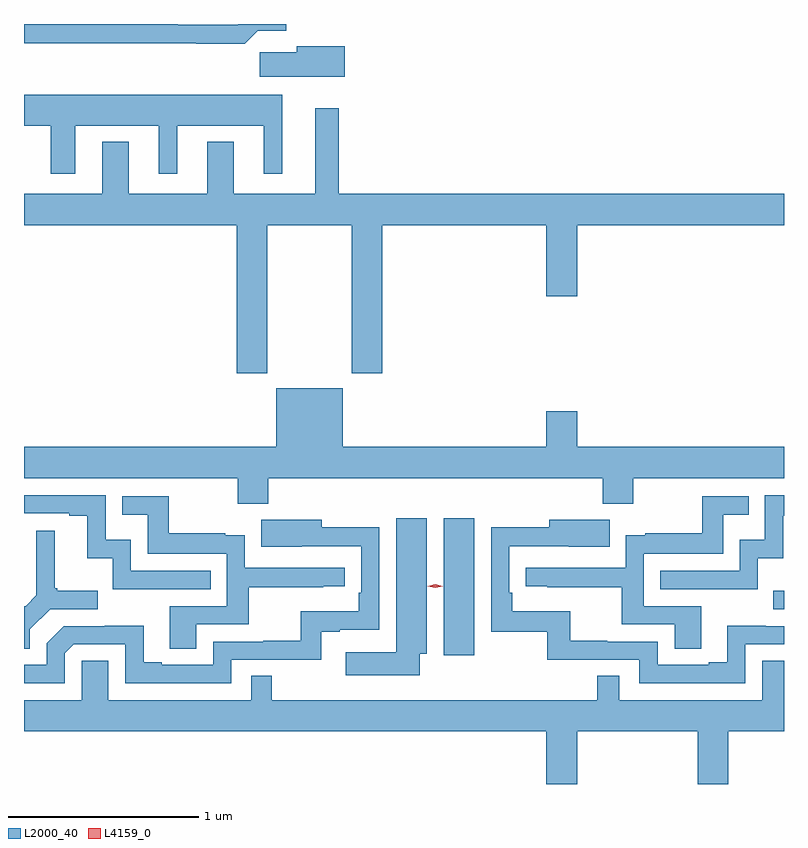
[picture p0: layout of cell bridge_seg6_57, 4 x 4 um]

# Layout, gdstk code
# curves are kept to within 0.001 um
import gdstk
lib = gdstk.Library(unit=1e-6, precision=1e-09)
def R(c, l, rs):  # rectangles x0, y0, x1, y1
    for r in rs: c.add(gdstk.rectangle(r[:2], r[2:], *l))
def P(c, l, *ps):  # polygons
    for p in ps: c.add(gdstk.Polygon(p, *l))
L2000_40 = (2000, 40)
L4159_0 = (4159, 0)

bridge_seg6_57 = lib.new_cell('bridge_seg6_57')
R(bridge_seg6_57, L2000_40, [(1087.544,917.1,1087.705,917.821), (1089.279,917.343,1089.335,917.44)])
P(bridge_seg6_57, L2000_40, [(1086.566,920.387),(1086.715,920.387),(1086.715,920.422),(1086.463,920.422),(1086.459,920.418),(1086.145,920.418),(1086.145,920.422),(1085.335,920.421),(1085.335,920.32),(1086.241,920.32),(1086.241,920.318),(1086.497,920.318)],
  [(1087.024,920.305),(1086.77,920.305),(1086.77,920.273),(1086.576,920.273),(1086.576,920.144),(1087.024,920.144)],
  [(1085.605,919.886),(1086.044,919.886),(1086.044,919.635),(1086.142,919.635),(1086.142,919.886),(1086.596,919.886),(1086.596,919.635),(1086.694,919.635),(1086.694,920.05),(1085.335,920.05),(1085.335,919.886),(1085.477,919.886),(1085.477,919.635),(1085.605,919.635)],
  [(1086.615,919.364),(1087.06,919.364),(1087.06,918.585),(1087.22,918.585),(1087.22,919.364),(1088.084,919.364),(1088.084,918.99),(1088.248,918.99),(1088.248,919.364),(1089.335,919.364),(1089.335,919.528),(1086.991,919.528),(1086.991,919.978),(1086.869,919.978),(1086.869,919.528),(1086.439,919.528),(1086.439,919.801),(1086.299,919.801),(1086.299,919.528),(1085.887,919.528),(1085.887,919.801),(1085.747,919.801),(1085.747,919.528),(1085.335,919.528),(1085.335,919.364),(1086.455,919.364),(1086.455,918.585),(1086.615,918.585)],
  [(1086.62,918.032),(1088.381,918.032),(1088.381,917.897),(1088.541,917.897),(1088.541,918.032),(1089.335,918.032),(1089.335,918.196),(1088.248,918.196),(1088.248,918.385),(1088.084,918.385),(1088.084,918.196),(1087.012,918.196),(1087.012,918.505),(1086.662,918.505),(1086.662,918.196),(1085.335,918.196),(1085.335,918.032),(1086.46,918.032),(1086.46,917.897),(1086.62,917.897)],
  [(1086.317,917.544),(1085.898,917.544),(1085.898,917.707),(1085.766,917.707),(1085.766,917.943),(1085.335,917.943),(1085.335,917.847),(1085.573,917.847),(1085.573,917.835),(1085.669,917.835),(1085.669,917.609),(1085.802,917.609),(1085.802,917.448),(1086.317,917.448)],
  [(1089.198,917.609),(1089.331,917.609),(1089.331,917.835),(1089.335,917.835),(1089.335,917.943),(1089.234,917.943),(1089.234,917.707),(1089.102,917.707),(1089.102,917.544),(1088.683,917.544),(1088.683,917.448),(1089.198,917.448)],
  [(1086.241,917.262),(1086.518,917.262),(1086.518,917.458),(1086.911,917.458),(1086.911,917.463),(1087.024,917.463),(1087.024,917.559),(1086.498,917.559),(1086.498,917.731),(1086.395,917.731),(1086.395,917.743),(1086.097,917.743),(1086.097,917.937),(1085.851,917.937),(1085.851,917.84),(1085.986,917.84),(1085.986,917.634),(1086.402,917.634),(1086.402,917.358),(1086.101,917.358),(1086.101,917.134),(1086.241,917.134)],
  [(1088.899,917.358),(1088.598,917.358),(1088.598,917.634),(1089.015,917.634),(1089.015,917.84),(1089.149,917.84),(1089.149,917.937),(1088.904,917.937),(1088.904,917.743),(1088.605,917.743),(1088.605,917.731),(1088.502,917.731),(1088.502,917.559),(1087.977,917.559),(1087.977,917.463),(1088.089,917.463),(1088.089,917.458),(1088.482,917.458),(1088.482,917.262),(1088.759,917.262),(1088.759,917.134),(1088.899,917.134)],
  [(1087.417,917.108),(1087.456,917.108),(1087.456,917.821),(1087.295,917.821),(1087.295,917.116),(1087.029,917.116),(1087.029,916.994),(1087.417,916.994)],
  [(1085.55,917.109),(1085.598,917.157),(1085.868,917.157),(1085.868,916.953),(1086.426,916.953),(1086.426,917.076),(1086.9,917.076),(1086.9,917.223),(1086.997,917.223),(1086.997,917.235),(1087.206,917.235),(1087.206,917.774),(1086.901,917.774),(1086.901,917.812),(1086.583,917.812),(1086.583,917.672),(1087.11,917.673),(1087.11,917.428),(1087.097,917.428),(1087.097,917.332),(1086.792,917.332),(1086.792,917.177),(1086.595,917.177),(1086.595,917.172),(1086.33,917.172),(1086.33,917.049),(1086.061,917.049),(1086.061,917.062),(1085.965,917.062),(1085.965,917.255),(1085.76,917.255),(1085.76,917.253),(1085.544,917.253),(1085.454,917.163),(1085.454,917.049),(1085.335,917.049),(1085.335,916.953),(1085.55,916.953)],
  [(1089.132,917.157),(1089.335,917.157),(1089.335,917.253),(1089.24,917.253),(1089.24,917.255),(1089.035,917.255),(1089.035,917.062),(1088.939,917.062),(1088.939,917.049),(1088.67,917.049),(1088.67,917.172),(1088.405,917.172),(1088.405,917.177),(1088.209,917.177),(1088.209,917.332),(1087.904,917.332),(1087.904,917.428),(1087.89,917.428),(1087.89,917.673),(1088.203,917.673),(1088.203,917.672),(1088.417,917.672),(1088.417,917.812),(1088.099,917.812),(1088.099,917.774),(1087.794,917.774),(1087.794,917.223),(1088.088,917.223),(1088.088,917.076),(1088.574,917.076),(1088.574,916.953),(1089.132,916.953)],
  [(1085.365,917.236),(1085.472,917.343),(1085.722,917.343),(1085.722,917.44),(1085.509,917.44),(1085.509,917.452),(1085.497,917.452),(1085.497,917.755),(1085.4,917.755),(1085.4,917.415),(1085.343,917.358),(1085.335,917.358),(1085.335,917.134),(1085.365,917.134)],
  [(1088.248,916.7),(1088.882,916.7),(1088.882,916.422),(1089.042,916.422),(1089.042,916.7),(1089.335,916.7),(1089.335,917.072),(1089.221,917.072),(1089.221,916.864),(1088.469,916.864),(1088.469,916.991),(1088.353,916.991),(1088.353,916.864),(1086.64,916.864),(1086.64,916.991),(1086.531,916.991),(1086.531,916.864),(1085.779,916.864),(1085.779,917.072),(1085.64,917.072),(1085.64,916.864),(1085.335,916.864),(1085.335,916.7),(1088.084,916.7),(1088.084,916.422),(1088.248,916.422)])
P(bridge_seg6_57, L4159_0, [(1087.5,917.454),(1087.46,917.464),(1087.46,917.464),(1087.46,917.464),(1087.5,917.474),(1087.54,917.464),(1087.54,917.464),(1087.54,917.464)])

lib.write_gds('bridge_seg6_57.gds')
